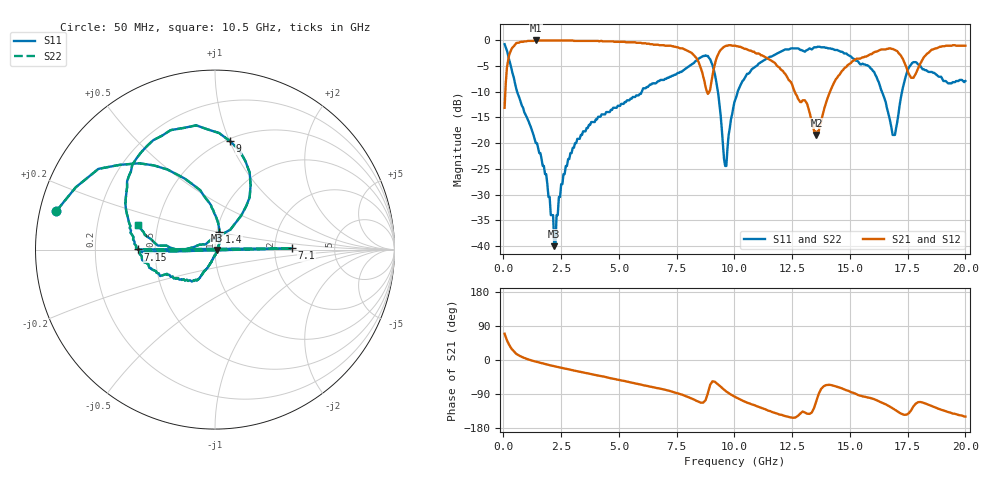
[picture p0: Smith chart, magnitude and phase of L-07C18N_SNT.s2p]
#	mhz	s	ma	r	50
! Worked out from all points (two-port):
!   400 points, 50 MHz to 20 GHz, reference 50 ohm
!   highest |S21| = -0.09 dB at 1.4 GHz (marker M1); lowest = -18.4 dB at 13.55 GHz (marker M2)
!   |S21| within 3 dB of the highest: 239.9 MHz to 8.273 GHz (8.033 GHz wide, 189 % of centre); 9.264 GHz to 11.25 GHz (1.982 GHz wide, 19.3 % of centre) (the widest 2 of 4)
!   lowest |S11| = -40.0 dB at 2.2 GHz (marker M3), VSWR 1.02, Z = 51 - j0.283 ohm
!   |S11| at or under -10 dB: 589.2 MHz to 5.991 GHz (5.402 GHz wide, 164 % of centre); 9.283 GHz to 10.14 GHz (861.1 MHz wide, 8.86 % of centre); 16.38 GHz to 17.26 GHz (874.1 MHz wide, 5.2 % of centre)
!   |S22| runs from -40.0 to -0.8 dB; largest |S21 - S12| = 0
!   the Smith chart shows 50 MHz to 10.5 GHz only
!   S11 on the Smith chart (normalised r, x): 50 MHz: 0.05, +0.12; 1.4 GHz: 1.03, +0.20; 7.1 GHz: 2.51, +0.04; 7.15 GHz: 0.40, +0.00; 9 GHz: 0.52, +1.00; 10.5 GHz: 0.39, +0.13
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50  0.91 166.4  0.22 69.4  0.22 69.4  0.91 166.4
550  0.34 103.9  0.93 16.4  0.93 16.4  0.34 103.9
1400  0.1 75.7  0.99 -4.3  0.99 -4.3  0.1 75.7
2200  0.01 -16.1  0.99 -16.4  0.99 -16.4  0.01 -16.1
2600  0.05 -100.6  0.99 -21.8  0.99 -21.8  0.05 -100.6
3400  0.12 -114.5  0.98 -32.2  0.98 -32.2  0.12 -114.5
6700  0.4 -169.8  0.9 -74.5  0.9 -74.5  0.4 -169.8
7050  0.42 -178.0  0.88 -79.5  0.88 -79.5  0.42 -178.0
7100  0.43 0.9  0.88 -80.1  0.88 -80.1  0.43 0.9
7150  0.43 179.9  0.88 -80.8  0.88 -80.8  0.43 179.9
8450  0.66 134.3  0.61 -110.2  0.61 -110.2  0.66 134.3
9000  0.61 82.1  0.39 -60.7  0.39 -60.7  0.61 82.1
9600  0.06 111.9  0.87 -80.7  0.87 -80.7  0.06 111.9
10050  0.27 175.4  0.88 -98.3  0.88 -98.3  0.27 175.4
10500  0.45 162.6  0.82 -111.3  0.82 -111.3  0.45 162.6
13350  0.81 75.7  0.16 -138.6  0.16 -138.6  0.81 75.7
13550  0.85 64.7  0.12 -107.4  0.12 -107.4  0.85 64.7
14650  0.77 13.2  0.5 -74.8  0.5 -74.8  0.77 13.2
16700  0.18 -13.5  0.83 -121.9  0.83 -121.9  0.18 -13.5
17550  0.54 41.5  0.47 -140.6  0.47 -140.6  0.54 41.5
18550  0.49 -22.2  0.81 -121.5  0.81 -121.5  0.49 -22.2
20000  0.4 -68.0  0.88 -149.4  0.88 -149.4  0.4 -68.0
